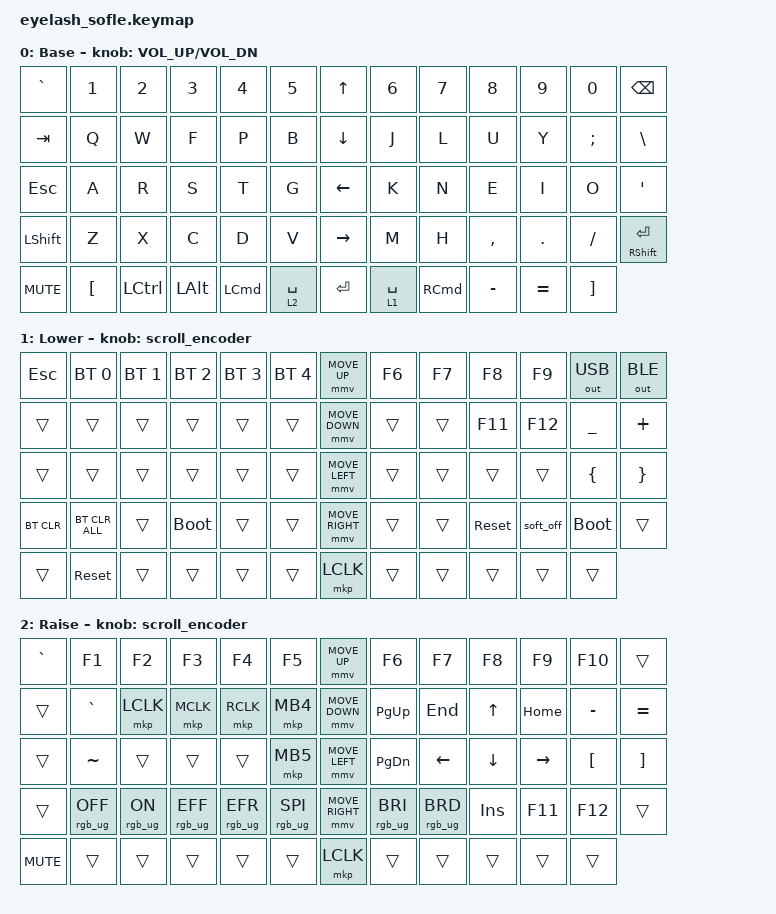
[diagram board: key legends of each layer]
#define ZMK_POINTING_DEFAULT_MOVE_VAL 1200  // 600
#define ZMK_POINTING_DEFAULT_SCRL_VAL 25   // 10

#include <input/processors.dtsi>
#include <zephyr/dt-bindings/input/input-event-codes.h>
#include <behaviors.dtsi>
#include <dt-bindings/zmk/bt.h>
#include <dt-bindings/zmk/keys.h>
#include <dt-bindings/zmk/outputs.h>
#include <dt-bindings/zmk/pointing.h>
#include <dt-bindings/zmk/rgb.h>

&mmv_input_listener { input-processors = <&zip_xy_scaler 2 1>; };

&msc_input_listener { input-processors = <&zip_scroll_scaler 2 1>; };

&msc {
    acceleration-exponent = <0>;      // 0
    time-to-max-speed-ms = <300>;       // 300
    delay-ms = <0>;                   // 0
};

&mmv {
    time-to-max-speed-ms = <300>;
    acceleration-exponent = <1>;
    trigger-period-ms = <16>;
};

/ {
    scroll_encoder: scroll_encoder {
        compatible = "zmk,behavior-sensor-rotate";
        #sensor-binding-cells = <0>;
        bindings = <&msc SCRL_DOWN>, <&msc SCRL_UP>;

        tap-ms = <100>;
    };

    behaviors {
    };

    combos {
        compatible = "zmk,combos";

        nolayer-down {
            bindings = <&kp DOWN>;
            key-positions = <34 35>;
            layers = <0>;
        };

        nolayer-uparrow {
            bindings = <&kp UP>;
            key-positions = <21 22>;
            layers = <0>;
        };

        nolayer-left {
            bindings = <&kp LEFT>;
            key-positions = <34 33>;
            layers = <0>;
        };

        nolayer-right {
            bindings = <&kp RIGHT>;
            key-positions = <35 36>;
            layers = <0>;
        };

        fast-spotlight {
            bindings = <&kp LG(SPACE)>;
            key-positions = <57 59>;
            layers = <0>;
        };

        legacy-escape {
            bindings = <&kp ESCAPE>;
            key-positions = <1 0>;
            layers = <0>;
        };

        fat-enter {
            bindings = <&kp ENTER>;
            key-positions = <50 51>;
        };

        fast-spotlight-2 {
            bindings = <&kp RG(SPACE)>;
            key-positions = <56 60>;
        };
    };

    keymap {
        compatible = "zmk,keymap";

        default_layer {
            bindings = <
&kp GRAVE   &kp N1            &kp N2     &kp N3        &kp N4            &kp N5         &kp UP_ARROW     &kp N6       &kp N7             &kp N8     &kp N9     &kp N0             &kp BACKSPACE
&kp TAB     &kp Q             &kp W      &kp F         &kp P             &kp B          &kp DOWN_ARROW   &kp J        &kp L              &kp U      &kp Y      &kp SEMICOLON      &kp BSLH
&kp ESCAPE  &kp A             &kp R      &kp S         &kp T             &kp G          &kp LEFT_ARROW   &kp K        &kp N              &kp E      &kp I      &kp O              &kp APOS
&kp LSHFT   &kp Z             &kp X      &kp C         &kp D             &kp V          &kp RIGHT_ARROW  &kp M        &kp H              &kp COMMA  &kp DOT    &kp FSLH           &mt RIGHT_SHIFT ENTER
&kp C_MUTE  &kp LEFT_BRACKET  &kp LCTRL  &kp LEFT_ALT  &kp LEFT_COMMAND  &lt 2 SPACE    &kp ENTER        &lt 1 SPACE  &kp RIGHT_COMMAND  &kp MINUS  &kp EQUAL  &kp RIGHT_BRACKET
            >;

            sensor-bindings = <&inc_dec_kp C_VOLUME_UP C_VOL_DN>;
            display-name = "Base";
        };

        lower_layer {
            bindings = <
&kp ESC     &bt BT_SEL 0    &bt BT_SEL 1  &bt BT_SEL 2  &bt BT_SEL 3  &bt BT_SEL 4    &mmv MOVE_UP     &kp F6  &kp F7  &kp F8      &kp F9     &out OUT_USB  &out OUT_BLE
&trans      &trans          &trans        &trans        &trans        &trans          &mmv MOVE_DOWN   &trans  &trans  &kp F11     &kp F12    &kp UNDER     &kp PLUS
&trans      &trans          &trans        &trans        &trans        &trans          &mmv MOVE_LEFT   &trans  &trans  &trans      &trans     &kp LBRC      &kp RBRC
&bt BT_CLR  &bt BT_CLR_ALL  &trans        &bootloader   &trans        &trans          &mmv MOVE_RIGHT  &trans  &trans  &sys_reset  &soft_off  &bootloader   &trans
&trans      &sys_reset      &trans        &trans        &trans        &trans          &mkp LCLK        &trans  &trans  &trans      &trans     &trans
            >;

            sensor-bindings = <&scroll_encoder>;
            display-name = "Lower";
        };

        raise_layer {
            bindings = <
&kp GRAVE   &kp F1           &kp F2          &kp F3           &kp F4           &kp F5             &mmv MOVE_UP     &kp F6           &kp F7           &kp F8      &kp F9     &kp F10           &trans
&trans      &kp GRAVE        &mkp LCLK       &mkp MCLK        &mkp RCLK        &mkp MB4           &mmv MOVE_DOWN   &kp PG_UP        &kp END          &kp UP      &kp HOME   &kp MINUS         &kp EQUAL
&trans      &kp TILDE        &trans          &trans           &trans           &mkp MB5           &mmv MOVE_LEFT   &kp PG_DN        &kp LEFT         &kp DOWN    &kp RIGHT  &kp LEFT_BRACKET  &kp RIGHT_BRACKET
&trans      &rgb_ug RGB_OFF  &rgb_ug RGB_ON  &rgb_ug RGB_EFF  &rgb_ug RGB_EFR  &rgb_ug RGB_SPI    &mmv MOVE_RIGHT  &rgb_ug RGB_BRI  &rgb_ug RGB_BRD  &kp INSERT  &kp F11    &kp F12           &trans
&kp C_MUTE  &trans           &trans          &trans           &trans           &trans             &mkp LCLK        &trans           &trans           &trans      &trans     &trans
            >;

            sensor-bindings = <&scroll_encoder>;
            label = "Raise";
        };

        extra_1 { status = "reserved"; };

        extra_2 { status = "reserved"; };

        extra_3 { status = "reserved"; };
    };
};
